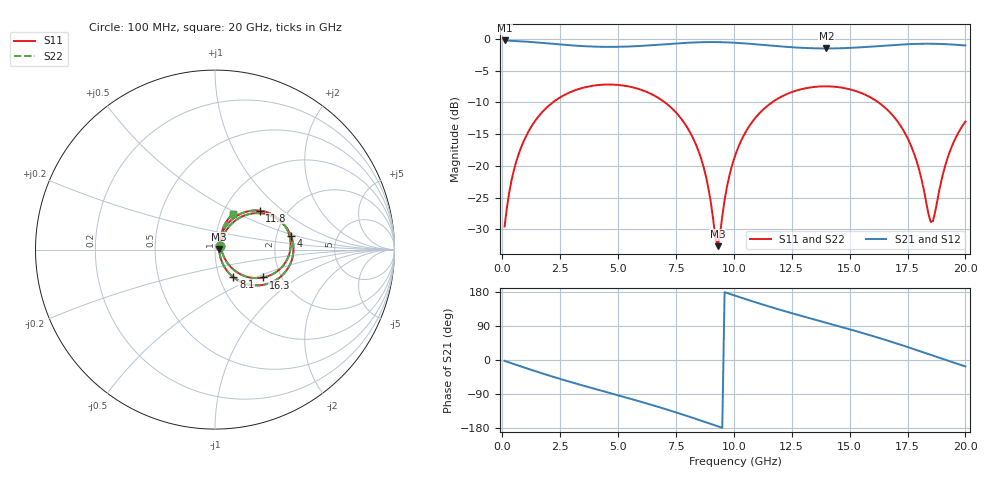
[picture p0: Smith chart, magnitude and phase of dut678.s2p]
! Touchstone file exported from HFSS 2026.1.0
!  File:  C:/ffzhzh/LocalFiles/Ansys_Project_Files/temp_train_TSV_RDL_678_1783133530_37876.aedt
!  Generated:  11:04:57 AM Jul  4, 2026
!  Design:  TSV_RDL
!  Project:  temp_train_TSV_RDL_678_1783133530_37876
! Variables:
!  h_bsmrdl = 4.73um
!  h_ox = 20um
!  h_rdl = 5um
!  h_sub = 68.86um
!  h_tmrdl = 3.2um
!  h_tsv = 68.86um
!  h_via = 3um
!  l_bsmrdl = 758.17um
!  l_sub = 6480.28um
!  l_tmrdl = 913.38um
!  m_sub = 200um
!  pitch = 43.3um
!  r_tsv = 4.46um
!  s_tmrdl = 10um
!  w_bsmrdl = 27.87um
!  w_sub = 500um
!  w_tmrdl = 22.88um
!  x_tsv_center1 = 924.82um
!  x_tsv_center2 = 1710.86um
!  x_tsv_center3 = 2647.12um
!  x_tsv_center4 = 3433.16um
!  x_tsv_center5 = 4369.42um
!  x_tsv_center6 = 5155.46um
# GHz S MA R 50.000000
! Terminal data exported
! Port[1] = TM_RDL1_1_T1
! Port[2] = TM_RDL5_1_T1
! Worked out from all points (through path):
!   200 points, 100 MHz to 20 GHz, reference 50 ohm
!   highest |S21| = -0.24 dB at 100 MHz (marker M1); lowest = -1.5 dB at 14 GHz (marker M2)
!   group delay of S21, straight-line fit = 51.7 ps
!   lowest |S11| = -32.6 dB at 9.3 GHz (marker M3), VSWR 1.05, Z = 52.4 + j0.184 ohm
!   |S11| at or under -10 dB: start of sweep to 2.182 GHz; 7.022 GHz to 11.65 GHz (4.625 GHz wide, 49.5 % of centre); 16.24 GHz to end of sweep
!   |S22| runs from -32.6 to -7.2 dB; largest |S21 - S12| = 2e-14
!   S11 on the Smith chart (normalised r, x): 100 MHz: 1.06, +0.04; 4 GHz: 2.41, +0.45; 8.1 GHz: 1.16, -0.37; 11.8 GHz: 1.46, +0.71; 16.3 GHz: 1.62, -0.56; 20 GHz: 1.12, +0.47
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0.1  0.03333 33.0  0.9726 -2.2  0.9726 -2.2  0.03333 33.0
! Gamma 0 0 0 0
! Port Impedance 50 0 50 0
0.5  0.09241 59.1  0.9643 -10.7  0.9643 -10.7  0.09241 59.1
1.2  0.1962 55.2  0.9472 -25.0  0.9472 -25.0  0.1962 55.2
2.2  0.3182 39.7  0.9143 -44.4  0.9143 -44.4  0.3182 39.7
3.5  0.413 18.3  0.8773 -67.7  0.8773 -67.7  0.4129 18.3
4  0.4302 10.3  0.8693 -76.3  0.8693 -76.3  0.4302 10.3
6.8  0.3377 -35.3  0.9014 -124.9  0.9014 -124.9  0.3377 -35.3
8.1  0.1849 -56.4  0.9348 -150.1  0.9348 -150.1  0.1849 -56.3
8.8  0.08185 -60.9  0.9439 -164.4  0.9439 -164.4  0.08183 -60.9
9.3  0.02332 4.3  0.9438 -174.8  0.9438 -174.8  0.02337 4.4
9.7  0.06797 64.5  0.9395 177.0  0.9395 177.0  0.06802 64.5
10.1  0.127 66.1  0.9318 168.8  0.9318 168.8  0.127 66.1
10.8  0.2229 57.2  0.9123 154.9  0.9123 154.9  0.2229 57.2
11.8  0.3301 41.1  0.8799 136.0  0.8799 136.0  0.3301 41.1
13.4  0.4171 15.6  0.8445 108.2  0.8445 108.2  0.4171 15.6
14  0.4232 6.2  0.8413 98.0  0.8413 98.0  0.4232 6.2
16.3  0.311 -29.9  0.8792 57.7  0.8792 57.7  0.311 -30.0
16.7  0.2687 -36.1  0.89 50.1  0.89 50.1  0.2686 -36.2
17.8  0.1227 -47.8  0.913 28.1  0.913 28.1  0.1225 -48.0
18.5  0.03616 0.8  0.9163 13.6  0.9163 13.6  0.0356 0.7
19.3  0.1256 69.2  0.9063 -2.9  0.9063 -2.9  0.1254 69.5
20  0.2233 63.1  0.8879 -17.0  0.8879 -17.0  0.2232 63.4
